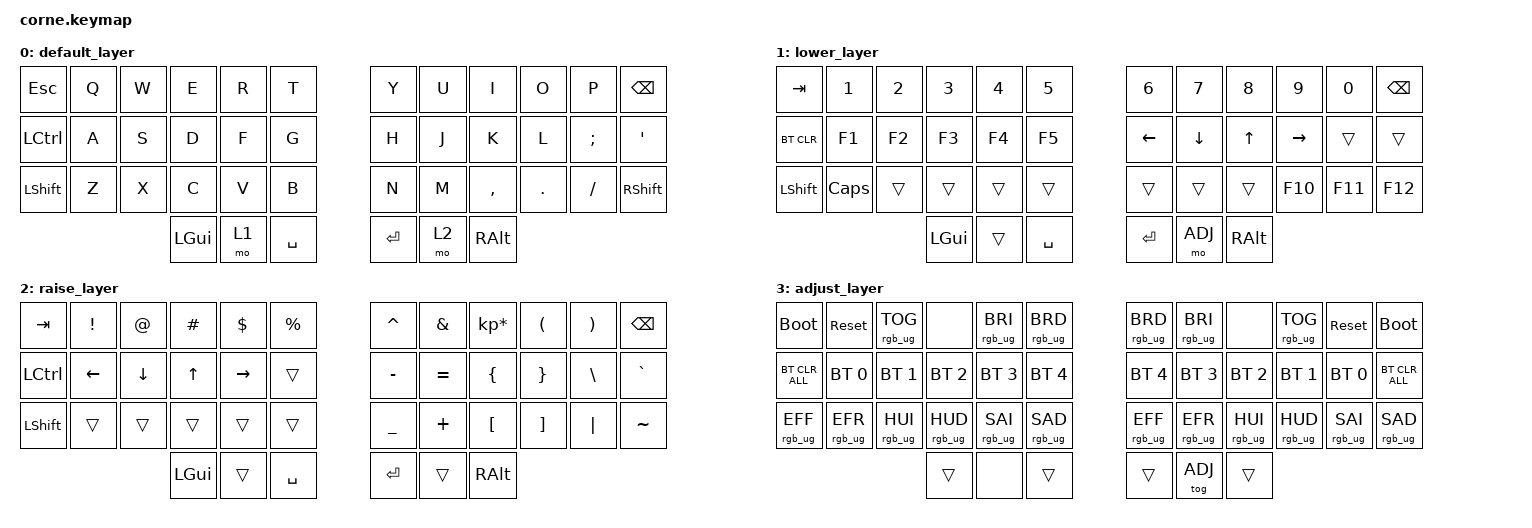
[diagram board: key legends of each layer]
/*
 * Copyright (c) 2020 The ZMK Contributors
 *
 * SPDX-License-Identifier: MIT
 */

#include <behaviors.dtsi>
#include <dt-bindings/zmk/keys.h>
#include <dt-bindings/zmk/bt.h>
#include <dt-bindings/zmk/rgb.h>
#include <dt-bindings/zmk/ext_power.h>

#define DEF 0
#define LWR 1
#define RSE 2
#define ADJ 3

&mt { quick_tap_ms=<200>; };

/ {
        keymap {
                compatible = "zmk,keymap";

                default_layer {
// -----------------------------------------------------------------------------------------
// | ESC  |  Q  |  W  |  E  |  R  |  T  |   |  Y  |  U   |  I  |  O  |  P  | BKSP |
// | CTRL |  A  |  S  |  D  |  F  |  G  |   |  H  |  J   |  K  |  L  |  ;  |  '   |
// | SHFT |  Z  |  X  |  C  |  V  |  B  |   |  N  |  M   |  ,  |  .  |  /  | SHFT |
//                    | GUI | LWR | SPC |   | ENT | RSE  | ALT |
                        bindings = <
   &kp ESC   &kp Q &kp W &kp E &kp R &kp T   &kp Y &kp U  &kp I     &kp O   &kp P    &kp BSPC
   &kp LCTRL &kp A &kp S &kp D &kp F &kp G   &kp H &kp J  &kp K     &kp L   &kp SEMI &kp SQT
   &kp LSHFT &kp Z &kp X &kp C &kp V &kp B   &kp N &kp M  &kp COMMA &kp DOT &kp FSLH &kp RSHFT
                  &kp LGUI &mo 1 &kp SPACE   &kp RET &mo 2 &kp RALT
                        >;
                };

                lower_layer {
// -----------------------------------------------------------------------------------------
// |  TAB |  1  |  2  |  3  |  4  |  5  |   |  6  |  7  |  8  |  9  |  0  | BKSP |
// | BTCLR| F1  | F2  | F3  | F4  | F5  |   | LFT | DWN |  UP | RGT |     |      |
// | SHFT | CAPS|     |     |     |     |   |     |     |     | F10 | F11 | F12  |
//                    | GUI |     | SPC |   | ENT | ADJ | ALT |
                        bindings = <
   &kp TAB    &kp N1       &kp N2       &kp N3       &kp N4       &kp N5         &kp N6   &kp N7   &kp N8 &kp N9    &kp N0 &kp BSPC
   &bt BT_CLR &kp F1       &kp F2       &kp F3       &kp F4       &kp F5         &kp LEFT &kp DOWN &kp UP &kp RIGHT &trans &trans
   &kp LSHFT  &kp CAPS     &trans       &trans       &trans       &trans         &trans   &trans   &trans &kp F10   &kp F11 &kp F12
                           &kp LGUI     &trans       &kp SPACE      &kp RET  &mo ADJ   &kp RALT
                        >;
                };

                raise_layer {
// -----------------------------------------------------------------------------------------
// |  TAB |  !  |  @  |  #  |  $  |  %  |   |  ^  |  &  |  *  |  (  |  )  | BKSP |
// | CTRL | LFT | DOWN|  UP | RGT |     |   |  -  |  =  |  {  |  }  |  \  |  `   |
// | SHFT |     |     |     |     |     |   |  _  |  +  |  [  |  ]  | "|" |  ~   |
//                    | GUI |     | SPC |   | ENT |     | ALT |
                        bindings = <
   &kp  TAB  &kp EXCL &kp AT &kp HASH &kp DLLR &kp PRCNT   &kp CARET &kp AMPS  &kp KP_MULTIPLY &kp LPAR &kp RPAR &kp BSPC
   &kp LCTRL &kp LEFT &kp DOWN &kp UP &kp RIGHT &trans     &kp MINUS &kp EQUAL &kp LBRC       &kp RBRC &kp BSLH &kp GRAVE
   &kp LSHFT &trans   &trans &trans   &trans   &trans      &kp UNDER &kp PLUS  &kp LBKT       &kp RBKT &kp PIPE &kp TILDE
                     &kp LGUI &trans   &kp SPACE   &kp RET   &trans    &kp RALT
                        >;
                };

                adjust_layer {
// -----------------------------------------------------------------------------------------
// | BLDR | RST | RGBTOG| EPTOG| VAL+| VAL-|   | VAL-| VAL+| EPTOG| RGBTOG| RST | BLDR |
// | BTCLR| BT0 | BT1   | BT2  | BT3 | BT4 |   | BT4 | BT3 | BT2  | BT1   | BT0 | BTCLR|
// | MOD+ | MOD-| HUE+  | HUE- | SAT+| SAT-|   | MOD+| MOD-| HUE+ | HUE-  | SAT+| SAT-|
//                      |      |     |     |   |     |     |      |
                bindings = <
   &bootloader     &sys_reset          &rgb_ug RGB_TOG &none &rgb_ug RGB_BRI &rgb_ug RGB_BRD    &rgb_ug RGB_BRD &rgb_ug RGB_BRI &none &rgb_ug RGB_TOG &sys_reset          &bootloader
   &bt BT_CLR_ALL  &bt BT_SEL 0    &bt BT_SEL 1    &bt BT_SEL 2      &bt BT_SEL 3    &bt BT_SEL 4       &bt BT_SEL 4    &bt BT_SEL 3    &bt BT_SEL 2      &bt BT_SEL 1    &bt BT_SEL 0    &bt BT_CLR_ALL
   &rgb_ug RGB_EFF &rgb_ug RGB_EFR &rgb_ug RGB_HUI &rgb_ug RGB_HUD   &rgb_ug RGB_SAI &rgb_ug RGB_SAD    &rgb_ug RGB_EFF &rgb_ug RGB_EFR &rgb_ug RGB_HUI   &rgb_ug RGB_HUD &rgb_ug RGB_SAI &rgb_ug RGB_SAD
                                                   &trans            &none           &trans             &trans          &tog ADJ        &trans
                        >;
                };
        };
};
